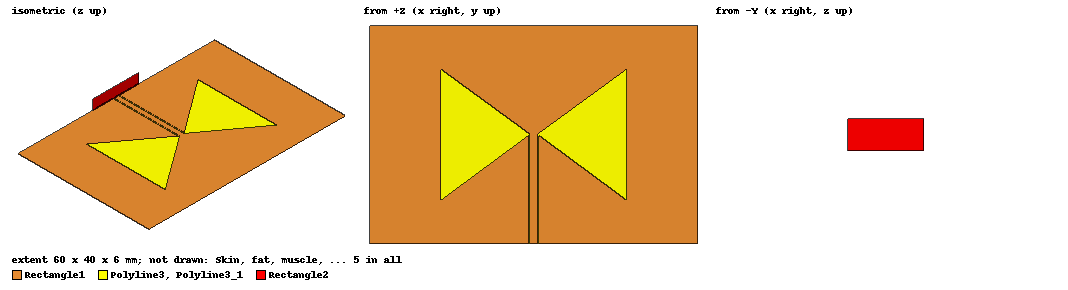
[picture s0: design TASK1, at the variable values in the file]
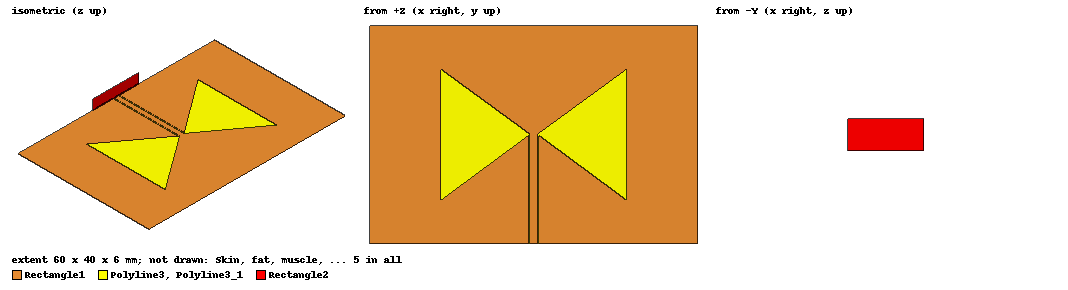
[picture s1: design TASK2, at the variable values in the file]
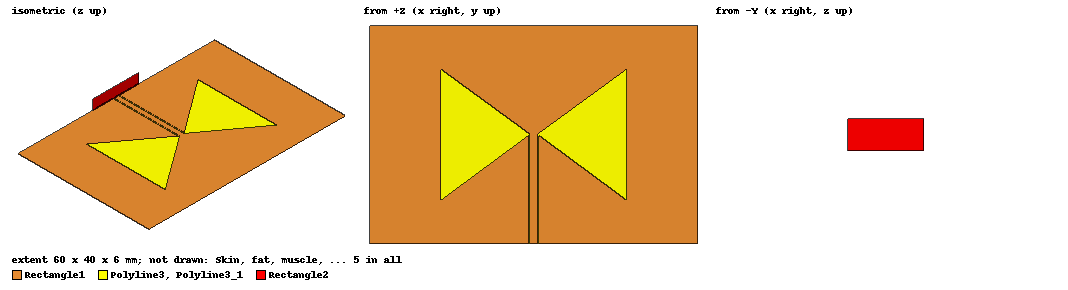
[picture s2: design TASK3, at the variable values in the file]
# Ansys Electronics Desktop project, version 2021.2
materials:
  vacuum: permittivity=1
  Antenae_diel: permittivity=2.4
  fat_2.45GHz: permittivity=5.3 conductivity=10
  mucle_2.45GHz: permittivity=54.4 conductivity=1.74
  pec: conductivity=1e+30
  skin_2.45GHz: permittivity=38 conductivity=1.46
  Arlon AD450 (tm): permittivity=4.5 dielectric_loss_tangent=0.0035
  phantom_fat: permittivity=5.3 permeability=1 conductivity=0.1
  phantom_muscle: permittivity=54.4 conductivity=1.74
  phantom_skin: permittivity=38 conductivity=1.46

design TASK1 (HFSS, DrivenModal, model units mm)
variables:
  skin_t = 2mm
  fat_t = 10mm
  muscle_t = 28mm
  ant_l = 17mm  # optimise 9.5mm..28.5mm
  phantom_x = 60mm
  phantom_y = 40mm
  sub_t = 60mil
  feed_w = 1.4mm
  feed_s = 0.2mm
  ant_w = 24mm
  air_t = 40mm
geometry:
  Skin [phantom_muscle] = box(corner=(-phantom_x/2, -phantom_y/2, -sub_t), size=(phantom_x, phantom_y, -skin_t))
  fat [phantom_fat] = box(corner=(-phantom_x/2, -phantom_y/2, -skin_t -sub_t), size=(phantom_x, phantom_y, -fat_t))
  muscle [phantom_muscle] = box(corner=(-phantom_x/2, -phantom_y/2, -skin_t - sub_t-fat_t), size=(phantom_x, phantom_y, -muscle_t))
  AIR [vacuum] = box(corner=(-phantom_x/2, -phantom_y/2, 0), size=(phantom_x, phantom_y, air_t))
  substrate [Arlon AD450 (tm)] = box(corner=(-phantom_x/2, -phantom_y/2, 0), size=(phantom_x, phantom_y, -sub_t))
  Rectangle1 = rectangle(corner=(-phantom_x/2, -phantom_y/2, 0mm), x_size=phantom_x, y_size=phantom_y)
  Polyline3 = polyline(z=0mm, xy: (feed_w/2+feed_s, -phantom_y/2) (feed_w/2+feed_s, -feed_s/2) (ant_l, -ant_w/2) (ant_l, ant_w/2) (feed_w/2, feed_s/2) (feed_w/2, -phantom_y/2) (feed_w/2+feed_s, -phantom_y/2), closed, covered)
  Polyline3_1 = Polyline3.duplicate_mirror(point=(0mm, 0mm, 0mm), normal=(-1mm, 0mm, 0mm))
  Polyline3_2 = Polyline3.copy()
  Polyline3_1_1 = Polyline3_1.copy()
  Rectangle1.subtract(Polyline3_2, Polyline3_1_1)
  Rectangle2 = rectangle(corner=(-7mm, -phantom_y/2, -3mm), z_size=6mm, x_size=14mm)
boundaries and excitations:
  Rad1: Radiation Faces=muscle.face(-z, -y, -x, +y, +x) fat.face(-y, -x, +y, +x) Skin.face(-y, -x, +y, +x) substrate.face(-y, -x, +y, +x) AIR.face(-y, -x, +y, +x)
  Rad2: Radiation Faces=AIR.face(+z)
  PerfE1: Perfect E Objects=Rectangle1
  1: Wave Port Faces=Rectangle2.face NumModes=1 Modes{Mode1{CharImp=Zpi}}
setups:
  Setup1: HfssDriven Frequency=2.45GHz MaxDeltaS=0.02 MaximumPasses=8 MinimumPasses=1 MinimumConvergedPasses=1 PercentRefinement=30 BasisOrder=1 PortAccuracy=2
    sweep Sweep: 1.4GHz to 3.4GHz, 30 points; Type=Interpolating InterpTolerance=0.5 InterpMaxSolns=250 InterpUsePortImped=false PassivityErrorTolerance=0.0001
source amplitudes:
  1:1: 1W 0deg
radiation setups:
  Infinite Sphere1: Infinite Sphere Theta=0deg..180deg step 2deg Phi=-180deg..180deg step 2deg
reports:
  S Parameter Plot 1: dB(S(1,1)) vs Freq on Setup1 : Sweep [feed_s=all]; markers MX1 at x=2.4519968e+09
  Z Parameter Plot 1: re(Zo(1:1)) vs Freq on Setup1 : Sweep; markers MX1 at x=2.4468517e+09
  Gain Plot 1: dB(GainTotal) vs Phi, Theta on Setup1 : LastAdaptive, Infinite Sphere1 [Freq=2.45GHz]
  Z Parameter Plot 2: re(Z(1,1)) vs Freq on Setup1 : Sweep [feed_s=all]; markers MX1 at x=2.4501274e+09

design TASK2 (HFSS, DrivenModal, model units mm)
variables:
  skin_t = 2mm
  fat_t = 10mm
  muscle_t = 28mm
  ant_l = 17mm  # optimise 9.5mm..28.5mm
  phantom_x = 60mm
  phantom_y = 40mm
  sub_t = 60mil
  feed_w = 1.4mm
  feed_s = 0.2mm
  ant_w = 24mm
  air_t = 40mm
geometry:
  Skin [phantom_skin] = box(corner=(-phantom_x/2, -phantom_y/2, -sub_t), size=(phantom_x, phantom_y+100mm, -skin_t))
  fat [phantom_fat] = box(corner=(-phantom_x/2, -phantom_y/2, -skin_t -sub_t), size=(phantom_x, phantom_y+100mm, -fat_t))
  muscle [phantom_muscle] = box(corner=(-phantom_x/2, -phantom_y/2, -skin_t - sub_t-fat_t), size=(phantom_x, phantom_y+100mm, -muscle_t))
  AIR [vacuum] = box(corner=(-phantom_x/2, -phantom_y/2, -sub_t), size=(phantom_x, phantom_y+100mm, air_t+sub_t))
  substrate [Arlon AD450 (tm)] = box(corner=(-phantom_x/2, -phantom_y/2, 0), size=(phantom_x, phantom_y, -sub_t))
  Rectangle1 = rectangle(corner=(-phantom_x/2, -phantom_y/2, 0mm), x_size=phantom_x, y_size=phantom_y)
  Polyline3 = polyline(z=0mm, xy: (feed_w/2+feed_s, -phantom_y/2) (feed_w/2+feed_s, -feed_s/2) (ant_l, -ant_w/2) (ant_l, ant_w/2) (feed_w/2, feed_s/2) (feed_w/2, -phantom_y/2) (feed_w/2+feed_s, -phantom_y/2), closed, covered)
  Polyline3_1 = Polyline3.duplicate_mirror(point=(0mm, 0mm, 0mm), normal=(-1mm, 0mm, 0mm))
  Polyline3_2 = Polyline3.copy()
  Polyline3_1_1 = Polyline3_1.copy()
  Rectangle1.subtract(Polyline3_2, Polyline3_1_1)
  Rectangle2 = rectangle(corner=(-7mm, -phantom_y/2, -3mm), z_size=6mm, x_size=14mm)
  substrate_1 = substrate.copy()
  AIR.subtract(substrate_1)
  Polyline4 = polyline((0mm, 0mm, -sub_t+1mm) (0mm, 120mm, -sub_t+1mm))
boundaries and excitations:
  Rad1: Radiation Faces=AIR.face(+z, -y, -x, +y, +x) muscle.face(-z, -y, -x, +y, +x) fat.face(-y, -x, +y, +x) Skin.face(-y, -x, +y, +x) substrate.face(-y, -x, +x)
  PerfE1: Perfect E Objects=Rectangle1
  1: Wave Port Faces=Rectangle2.face NumModes=1 Modes{Mode1{CharImp=Zpi}}
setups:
  Setup1: HfssDriven Frequency=2.45GHz MaxDeltaS=0.02 MaximumPasses=8 MinimumPasses=1 MinimumConvergedPasses=1 PercentRefinement=30 BasisOrder=1 PortAccuracy=2
    sweep Sweep: 1.4GHz to 6GHz, 47 points; disabled Type=Interpolating InterpTolerance=0.5 InterpMaxSolns=250 InterpUsePortImped=false PassivityErrorTolerance=0.0001
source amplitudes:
  1:1: 1W 0deg
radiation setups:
  Infinite Sphere1: Infinite Sphere Theta=0deg..180deg step 2deg Phi=-180deg..180deg step 2deg
  Line1: Near Line  Line=Polyline4 NumPts=1000
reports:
  S Parameter Plot 1: dB(S(1,1)) vs Freq on Setup1 : Sweep [feed_s=all]; markers MX1 at x=2.4519968e+09
  Z Parameter Plot 1: re(Zo(1:1)) vs Freq on Setup1 : Sweep; markers MX1 at x=2.4468517e+09
  Gain Plot 1: dB(GainTotal) vs Phi, Theta on Setup1 : LastAdaptive, Infinite Sphere1 [Freq=2.45GHz]
  Z Parameter Plot 2: re(Z(1,1)) vs Freq on Setup1 : Sweep [feed_s=all]
  Near E Plot 1: dB(NearEZ) vs NormalizedDistance*(phantom_y/2+100mm) on Setup1 : LastAdaptive [NormalizedDistance=all Freq=2.45GHz]

design TASK3 (HFSS, DrivenModal, model units mm)
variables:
  skin_t = 2mm
  fat_t = 10mm
  muscle_t = 28mm
  ant_l = 17mm  # optimise 9.5mm..28.5mm
  phantom_x = 60mm
  phantom_y = 40mm
  sub_t = 60mil
  feed_w = 1.4mm
  feed_s = 0.2mm
  ant_w = 24mm
  air_t = 40mm
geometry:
  Skin [vacuum] = box(corner=(-phantom_x/2, -phantom_y/2, -sub_t), size=(phantom_x, phantom_y+100mm, -skin_t))
  fat [vacuum] = box(corner=(-phantom_x/2, -phantom_y/2, -skin_t -sub_t), size=(phantom_x, phantom_y+100mm, -fat_t))
  muscle [vacuum] = box(corner=(-phantom_x/2, -phantom_y/2, -skin_t - sub_t-fat_t), size=(phantom_x, phantom_y+100mm, -muscle_t))
  AIR [vacuum] = box(corner=(-phantom_x/2, -phantom_y/2, -sub_t), size=(phantom_x, phantom_y+100mm, air_t+sub_t))
  substrate [Arlon AD450 (tm)] = box(corner=(-phantom_x/2, -phantom_y/2, 0), size=(phantom_x, phantom_y, -sub_t))
  Rectangle1 = rectangle(corner=(-phantom_x/2, -phantom_y/2, 0mm), x_size=phantom_x, y_size=phantom_y)
  Polyline3 = polyline(z=0mm, xy: (feed_w/2+feed_s, -phantom_y/2) (feed_w/2+feed_s, -feed_s/2) (ant_l, -ant_w/2) (ant_l, ant_w/2) (feed_w/2, feed_s/2) (feed_w/2, -phantom_y/2) (feed_w/2+feed_s, -phantom_y/2), closed, covered)
  Polyline3_1 = Polyline3.duplicate_mirror(point=(0mm, 0mm, 0mm), normal=(-1mm, 0mm, 0mm))
  Polyline3_2 = Polyline3.copy()
  Polyline3_1_1 = Polyline3_1.copy()
  Rectangle1.subtract(Polyline3_2, Polyline3_1_1)
  Rectangle2 = rectangle(corner=(-7mm, -phantom_y/2, -3mm), z_size=6mm, x_size=14mm)
  substrate_1 = substrate.copy()
  AIR.subtract(substrate_1)
  Polyline4 = polyline((0mm, 0mm, -sub_t+1mm) (0mm, 120mm, -sub_t+1mm))
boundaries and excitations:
  Rad1: Radiation Faces=AIR.face(+z, -y, -x, +y, +x) muscle.face(-z, -y, -x, +y, +x) fat.face(-y, -x, +y, +x) Skin.face(-y, -x, +y, +x) substrate.face(-y, -x, +x)
  PerfE1: Perfect E Objects=Rectangle1
  1: Wave Port Faces=Rectangle2.face NumModes=1 Modes{Mode1{CharImp=Zpi}}
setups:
  Setup1: HfssDriven Frequency=6.15GHz MaxDeltaS=0.02 MaximumPasses=8 MinimumPasses=1 MinimumConvergedPasses=1 PercentRefinement=30 BasisOrder=1 PortAccuracy=2
    sweep Sweep: 1.4GHz to 9GHz, 47 points; Type=Interpolating InterpTolerance=0.5 InterpMaxSolns=250 InterpUsePortImped=false PassivityErrorTolerance=0.0001
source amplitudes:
  1:1: 1W 0deg
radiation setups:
  Infinite Sphere1: Infinite Sphere Theta=0deg..180deg step 2deg Phi=-180deg..180deg step 2deg
  Line1: Near Line  Line=Polyline4 NumPts=1000
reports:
  S Parameter Plot 1: dB(S(1,1)) vs Freq on Setup1 : Sweep [feed_s=all]; markers MX1 at x=6.0094098e+09
  Z Parameter Plot 1: re(Zo(1:1)) vs Freq on Setup1 : Sweep; markers MX1 at x=2.661705e+09
  Gain Plot 1: dB(GainTotal) vs Phi, Theta on Setup1 : LastAdaptive, Infinite Sphere1 [Freq=6.15GHz]
  Z Parameter Plot 2: re(Z(1,1)) vs Freq on Setup1 : Sweep [feed_s=all]
  Near E Plot 1: dB(NearEZ) vs NormalizedDistance*(phantom_y/2+100mm) on Setup1 : LastAdaptive [NormalizedDistance=all Freq=2.45GHz]; markers MX1 at x=0.11221922
